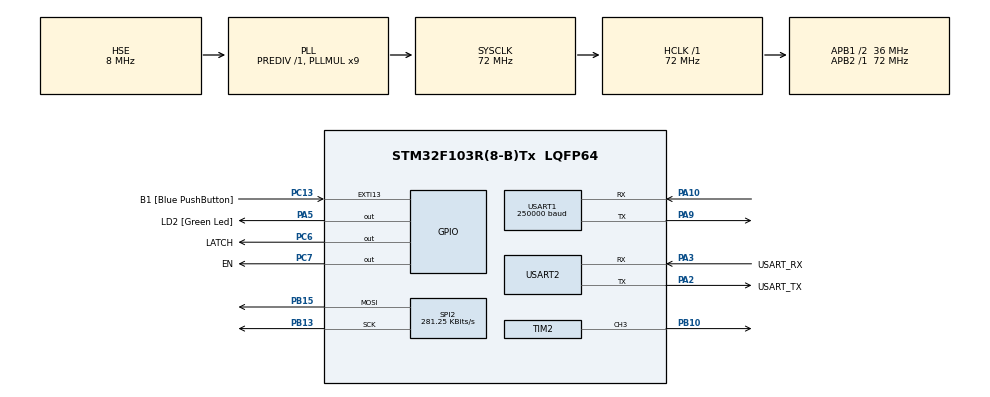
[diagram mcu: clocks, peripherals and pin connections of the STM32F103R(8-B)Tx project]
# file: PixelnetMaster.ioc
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Dma.Request0=TIM2_CH3
Dma.TIM2_CH3.0.Direction=DMA_MEMORY_TO_PERIPH
Dma.TIM2_CH3.0.Instance=DMA1_Channel1
Dma.TIM2_CH3.0.MemDataAlignment=DMA_MDATAALIGN_HALFWORD
Dma.TIM2_CH3.0.MemInc=DMA_MINC_ENABLE
Dma.TIM2_CH3.0.Mode=DMA_NORMAL
Dma.TIM2_CH3.0.PeriphDataAlignment=DMA_PDATAALIGN_HALFWORD
Dma.TIM2_CH3.0.PeriphInc=DMA_PINC_DISABLE
Dma.TIM2_CH3.0.Priority=DMA_PRIORITY_MEDIUM
Mcu.Family=STM32F1
Mcu.Name=STM32F103R(8-B)Tx
Mcu.Package=LQFP64
NVIC.DMA1_Channel1_IRQn=true\:2\:0\:true\:false\:true\:false
NVIC.EXTI15_10_IRQn=true\:0\:0\:false\:false\:true\:true
NVIC.PriorityGroup=NVIC_PRIORITYGROUP_4
NVIC.USART1_IRQn=true\:0\:0\:false\:false\:true\:true
PA10.Mode=Asynchronous
PA10.Signal=USART1_RX
PA13.GPIO_Label=TMS
PA13.Mode=Trace_Asynchronous_SW
PA13.Signal=SYS_JTMS-SWDIO
PA14.GPIO_Label=TCK
PA14.Mode=Trace_Asynchronous_SW
PA14.Signal=SYS_JTCK-SWCLK
PA2.GPIO_Label=USART_TX
PA2.GPIO_Mode=GPIO_MODE_AF_PP
PA2.GPIO_PuPd=GPIO_NOPULL
PA2.GPIO_Speed=GPIO_SPEED_FREQ_LOW
PA2.Mode=Asynchronous
PA2.Signal=USART2_TX
PA3.GPIO_Label=USART_RX
PA3.GPIO_Mode=GPIO_MODE_AF_PP
PA3.GPIO_PuPd=GPIO_NOPULL
PA3.GPIO_Speed=GPIO_SPEED_FREQ_LOW
PA3.Mode=Asynchronous
PA3.Signal=USART2_RX
PA5.GPIO_Label=LD2 [Green Led]
PA5.GPIO_ModeDefaultOutputPP=GPIO_MODE_OUTPUT_PP
PA5.GPIO_PuPd=GPIO_NOPULL
PA5.GPIO_Speed=GPIO_SPEED_FREQ_LOW
PA5.Signal=GPIO_Output
PA9.Mode=Asynchronous
PA9.Signal=USART1_TX
PB10.Signal=S_TIM2_CH3
PB13.Mode=TX_Only_Simplex_Unidirect_Master
PB13.Signal=SPI2_SCK
PB15.Mode=TX_Only_Simplex_Unidirect_Master
PB15.Signal=SPI2_MOSI
PB3.GPIO_Label=SWO
PB3.Mode=Trace_Asynchronous_SW
PB3.Signal=SYS_JTDO-TRACESWO
PC13-TAMPER-RTC.GPIO_Label=B1 [Blue PushButton]
PC13-TAMPER-RTC.GPIO_PuPd=GPIO_NOPULL
PC13-TAMPER-RTC.Signal=GPXTI13
PC6.GPIO_Label=LATCH
PC6.Signal=GPIO_Output
PC7.GPIO_Label=EN
PC7.Signal=GPIO_Output
PD0-OSC_IN.Mode=HSE-External-Clock-Source
PD0-OSC_IN.Signal=RCC_OSC_IN
PD1-OSC_OUT.Mode=HSE-External-Clock-Source
PD1-OSC_OUT.Signal=RCC_OSC_OUT
ProjectManager.HeapSize=0x200
ProjectManager.StackSize=0x400
ProjectManager.TargetToolchain=SW4STM32
RCC.AHBFreq_Value=72000000
RCC.APB1CLKDivider=RCC_HCLK_DIV2
RCC.APB1Freq_Value=36000000
RCC.APB1TimFreq_Value=72000000
RCC.APB2Freq_Value=72000000
RCC.APB2TimFreq_Value=72000000
RCC.HCLKFreq_Value=72000000
RCC.PLLMUL=RCC_PLL_MUL9
RCC.PLLSourceVirtual=RCC_PLLSOURCE_HSE
RCC.RTCClockSelection=RCC_RTCCLKSOURCE_LSE
RCC.SYSCLKFreq_VALUE=72000000
RCC.SYSCLKSource=RCC_SYSCLKSOURCE_PLLCLK
RCC.USBFreq_Value=72000000
SH.S_TIM2_CH3.0=TIM2_CH3,PWM Generation3 CH3
SPI2.BaudRatePrescaler=SPI_BAUDRATEPRESCALER_128
SPI2.CalculateBaudRate=281.25 KBits/s
SPI2.Direction=SPI_DIRECTION_2LINES
SPI2.FirstBit=SPI_FIRSTBIT_MSB
SPI2.Mode=SPI_MODE_MASTER
SPI2.VirtualType=VM_MASTER
TIM2.Channel-PWM\ Generation3\ CH3=TIM_CHANNEL_3
TIM2.Period=89
USART1.BaudRate=250000
USART1.Mode=MODE_RX
USART1.VirtualMode=VM_ASYNC
USART2.VirtualMode=VM_ASYNC
board=NUCLEO-F103RB

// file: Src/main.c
/**
  ******************************************************************************
  * @file           : main.c
  * @brief          : Main program body
  ******************************************************************************
  ** This notice applies to any and all portions of this file
  * that are not between comment pairs USER CODE BEGIN and
  * USER CODE END. Other portions of this file, whether
  * inserted by the user or by software development tools
  * are owned by their respective copyright owners.
  *
  * COPYRIGHT(c) 2018 STMicroelectronics
  *
  * Redistribution and use in source and binary forms, with or without modification,
  * are permitted provided that the following conditions are met:
  *   1. Redistributions of source code must retain the above copyright notice,
  *      this list of conditions and the following disclaimer.
  *   2. Redistributions in binary form must reproduce the above copyright notice,
  *      this list of conditions and the following disclaimer in the documentation
  *      and/or other materials provided with the distribution.
  *   3. Neither the name of STMicroelectronics nor the names of its contributors
  *      may be used to endorse or promote products derived from this software
  *      without specific prior written permission.
  *
  * THIS SOFTWARE IS PROVIDED BY THE COPYRIGHT HOLDERS AND CONTRIBUTORS "AS IS"
  * AND ANY EXPRESS OR IMPLIED WARRANTIES, INCLUDING, BUT NOT LIMITED TO, THE
  * IMPLIED WARRANTIES OF MERCHANTABILITY AND FITNESS FOR A PARTICULAR PURPOSE ARE
  * DISCLAIMED. IN NO EVENT SHALL THE COPYRIGHT HOLDER OR CONTRIBUTORS BE LIABLE
  * FOR ANY DIRECT, INDIRECT, INCIDENTAL, SPECIAL, EXEMPLARY, OR CONSEQUENTIAL
  * DAMAGES (INCLUDING, BUT NOT LIMITED TO, PROCUREMENT OF SUBSTITUTE GOODS OR
  * SERVICES; LOSS OF USE, DATA, OR PROFITS; OR BUSINESS INTERRUPTION) HOWEVER
  * CAUSED AND ON ANY THEORY OF LIABILITY, WHETHER IN CONTRACT, STRICT LIABILITY,
  * OR TORT (INCLUDING NEGLIGENCE OR OTHERWISE) ARISING IN ANY WAY OUT OF THE USE
  * OF THIS SOFTWARE, EVEN IF ADVISED OF THE POSSIBILITY OF SUCH DAMAGE.
  *
  ******************************************************************************
  */
#include "main.h"
#include "stm32f1xx_hal.h"
#include "dma.h"
#include "spi.h"
#include "tim.h"
#include "usart.h"
#include "gpio.h"

/* USER CODE BEGIN Includes */
#include "TLC5947_Lib.h"
#include "WS2812_Lib.h"
#include "Pixelnet.h"
/* USER CODE END Includes */

/* USER CODE BEGIN PV */
/* Private variables ---------------------------------------------------------*/

/* USER CODE END PV */

void SystemClock_Config(void);

/* USER CODE BEGIN PFP */
/* Private function prototypes -----------------------------------------------*/
uint8_t byTest[36] = {0};
/* USER CODE END PFP */

/* USER CODE BEGIN 0 */

//void HAL_UART_RxCpltCallback(UART_HandleTypeDef *huart)
//{
//
//	HAL_UART_Receive_IT(&huart2, &byData, 1);
//}
/* USER CODE END 0 */

int main(void)
{
  /* USER CODE BEGIN 1 */
	uint16_t wCol = 0;
	uint8_t byCnt = 0;
  /* USER CODE END 1 */

  /* MCU Configuration----------------------------------------------------------*/

  /* Reset of all peripherals, Initializes the Flash interface and the Systick. */
  HAL_Init();

  /* Configure the system clock */
  SystemClock_Config();

  /* Initialize all configured peripherals */
  MX_GPIO_Init();
  MX_DMA_Init();
  MX_TIM2_Init();
  MX_SPI2_Init();
  MX_USART2_UART_Init();
  MX_USART1_UART_Init();
  /* USER CODE BEGIN 2 */

  HAL_GPIO_WritePin(EN_GPIO_Port, EN_Pin, GPIO_PIN_SET);
  HAL_GPIO_WritePin(LATCH_GPIO_Port, LATCH_Pin, GPIO_PIN_RESET);
  HAL_Delay(1);
  HAL_GPIO_WritePin(EN_GPIO_Port, EN_Pin, GPIO_PIN_RESET);
  //HAL_UART_Receive_IT(&huart2, &byData, 1);
  USART1->CR1 |= (USART_CR1_RXNEIE | USART_CR1_UE);
  USART1->CR3 |= USART_CR3_EIE;

//  TLC5947_SetData(byPixelData, 500);

  WS2812_Refresh();

//  byTest[35] = 0xff;
//  byTest[34] = 0xf0;
//  byTest[31] = 0x0f;
//  byTest[30] = 0xff;
//  HAL_SPI_Transmit(&hspi2, byTest, 36, 0xffffffff);

  HAL_GPIO_WritePin(LATCH_GPIO_Port, LATCH_Pin, GPIO_PIN_SET);
  HAL_Delay(1);
  HAL_GPIO_WritePin(LATCH_GPIO_Port, LATCH_Pin, GPIO_PIN_RESET);
  /* USER CODE END 2 */

  /* Infinite loop */
  while (1)
  {

  /* USER CODE BEGIN 3 */
//	  	  if(wCol >= 4096)
//	  	  {
//	  		  wCol = 0;
//	  	  }
//	  	  else
//	  	  {
//	  		  wCol += 16;
//	  	  }
//	    TLC5947_set_channel(1, 1000);
//	    TLC5947_set_channel(2, 1000);
//	    TLC5947_set_channel(3, 1000);
//	    TLC5947_set_channel(4, 1000);
//	    TLC5947_Refresh();
//	    HAL_Delay(50);

	Pix_Handler();
  }
  /* USER CODE END 3 */

}

void SystemClock_Config(void)
{

  RCC_OscInitTypeDef RCC_OscInitStruct;
  RCC_ClkInitTypeDef RCC_ClkInitStruct;

    /**Initializes the CPU, AHB and APB busses clocks
    */
  RCC_OscInitStruct.OscillatorType = RCC_OSCILLATORTYPE_HSE;
  RCC_OscInitStruct.HSEState = RCC_HSE_BYPASS;
  RCC_OscInitStruct.HSEPredivValue = RCC_HSE_PREDIV_DIV1;
  RCC_OscInitStruct.HSIState = RCC_HSI_ON;
  RCC_OscInitStruct.PLL.PLLState = RCC_PLL_ON;
  RCC_OscInitStruct.PLL.PLLSource = RCC_PLLSOURCE_HSE;
  RCC_OscInitStruct.PLL.PLLMUL = RCC_PLL_MUL9;
  if (HAL_RCC_OscConfig(&RCC_OscInitStruct) != HAL_OK)
  {
    _Error_Handler(__FILE__, __LINE__);
  }

    /**Initializes the CPU, AHB and APB busses clocks
    */
  RCC_ClkInitStruct.ClockType = RCC_CLOCKTYPE_HCLK|RCC_CLOCKTYPE_SYSCLK
                              |RCC_CLOCKTYPE_PCLK1|RCC_CLOCKTYPE_PCLK2;
  RCC_ClkInitStruct.SYSCLKSource = RCC_SYSCLKSOURCE_PLLCLK;
  RCC_ClkInitStruct.AHBCLKDivider = RCC_SYSCLK_DIV1;
  RCC_ClkInitStruct.APB1CLKDivider = RCC_HCLK_DIV2;
  RCC_ClkInitStruct.APB2CLKDivider = RCC_HCLK_DIV1;

  if (HAL_RCC_ClockConfig(&RCC_ClkInitStruct, FLASH_LATENCY_2) != HAL_OK)
  {
    _Error_Handler(__FILE__, __LINE__);
  }

    /**Configure the Systick interrupt time
    */
  HAL_SYSTICK_Config(HAL_RCC_GetHCLKFreq()/1000);

    /**Configure the Systick
    */
  HAL_SYSTICK_CLKSourceConfig(SYSTICK_CLKSOURCE_HCLK);

  /* SysTick_IRQn interrupt configuration */
  HAL_NVIC_SetPriority(SysTick_IRQn, 0, 0);
}

void _Error_Handler(char *file, int line)
{
  while(1)
  {
  }
}

/************************ (C) COPYRIGHT STMicroelectronics *****END OF FILE****/
